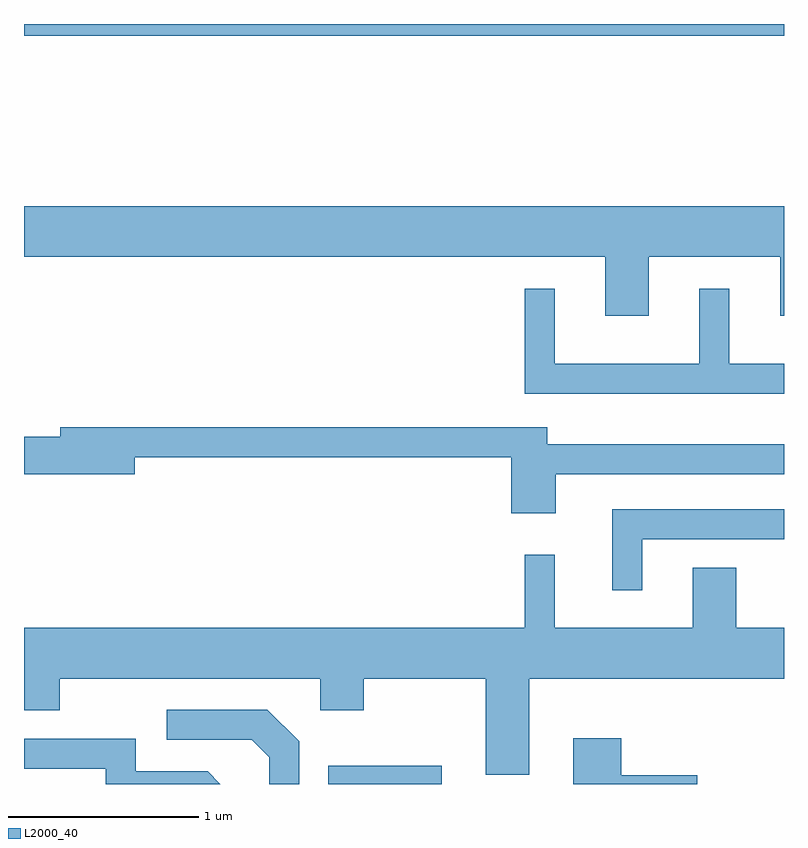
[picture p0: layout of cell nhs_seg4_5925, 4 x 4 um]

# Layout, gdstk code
import gdstk
lib = gdstk.Library(unit=1e-6, precision=1e-09)
def R(c, l, rs):  # rectangles x0, y0, x1, y1
    for r in rs: c.add(gdstk.rectangle(r[:2], r[2:], *l))
def P(c, l, *ps):  # polygons
    for p in ps: c.add(gdstk.Polygon(p, *l))
L2000_40 = (2000, 40)

nhs_seg4_5925 = lib.new_cell('nhs_seg4_5925')
R(nhs_seg4_5925, L2000_40, [(361.211,1271.982,361.809,1272.079), (359.611,1275.921,363.611,1275.982)])
P(nhs_seg4_5925, L2000_40, [(362.899,1274.756),(363.591,1274.756),(363.591,1274.446),(363.611,1274.446),(363.611,1275.024),(359.611,1275.024),(359.611,1274.756),(362.671,1274.756),(362.671,1274.446),(362.899,1274.446)],
  [(363.611,1274.194),(363.324,1274.194),(363.324,1274.588),(363.166,1274.588),(363.166,1274.194),(362.404,1274.194),(362.404,1274.588),(362.246,1274.588),(362.246,1274.036),(363.611,1274.036)],
  [(362.409,1273.611),(363.611,1273.611),(363.611,1273.769),(362.364,1273.769),(362.364,1273.859),(359.801,1273.859),(359.801,1273.809),(359.611,1273.809),(359.611,1273.611),(360.194,1273.611),(360.194,1273.701),(362.176,1273.701),(362.176,1273.406),(362.409,1273.406)],
  [(362.864,1273.271),(363.611,1273.271),(363.611,1273.429),(362.706,1273.429),(362.706,1273.003),(362.864,1273.003)],
  [(362.269,1272.536),(363.611,1272.536),(363.611,1272.804),(363.359,1272.804),(363.359,1273.119),(363.131,1273.119),(363.131,1272.804),(362.404,1272.804),(362.404,1273.188),(362.246,1273.188),(362.246,1272.804),(359.611,1272.804),(359.611,1272.371),(359.799,1272.371),(359.799,1272.536),(361.171,1272.536),(361.171,1272.371),(361.399,1272.371),(361.399,1272.536),(362.041,1272.536),(362.041,1272.031),(362.269,1272.031)],
  [(361.059,1272.207),(360.892,1272.374),(360.363,1272.374),(360.363,1272.216),(360.809,1272.216),(360.901,1272.124),(360.901,1271.982),(361.059,1271.982)],
  [(363.154,1272.029),(362.754,1272.029),(362.754,1272.224),(362.501,1272.224),(362.501,1271.982),(363.154,1271.982)],
  [(360.577,1272.049),(360.199,1272.049),(360.199,1272.219),(359.611,1272.219),(359.611,1272.061),(360.041,1272.061),(360.041,1271.982),(360.644,1271.982)])

lib.write_gds('nhs_seg4_5925.gds')
